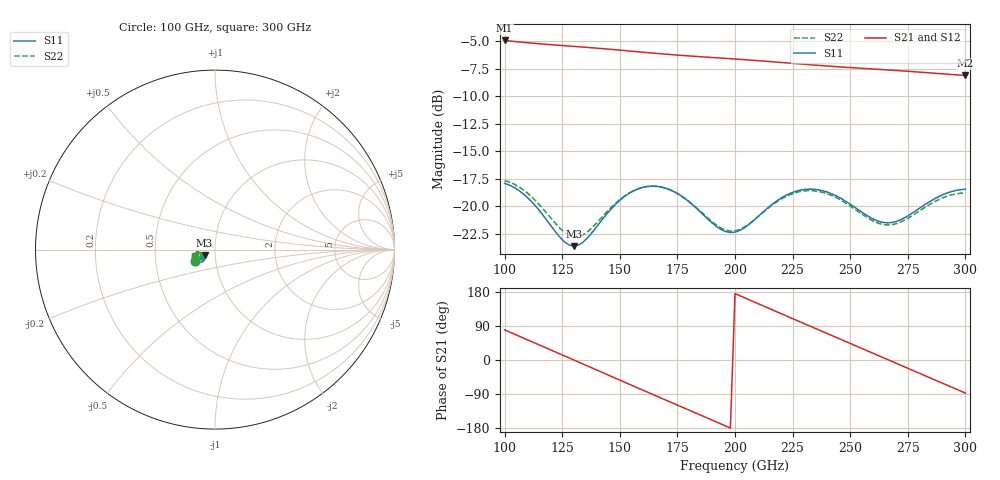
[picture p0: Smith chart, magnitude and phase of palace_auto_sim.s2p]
#  GHZ S DB R 50
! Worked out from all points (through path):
!   101 points, 100 GHz to 300 GHz, reference 50 ohm
!   highest |S21| = -4.95 dB at 100 GHz (marker M1); lowest = -8.1 dB at 300 GHz (marker M2)
!   group delay of S21, straight-line fit = 7.32 ps
!   lowest |S11| = -23.6 dB at 130 GHz (marker M3), VSWR 1.14, Z = 44.4 - j2.77 ohm
!   |S11| at or under -10 dB: start of sweep to end of sweep
!   |S22| runs from -22.8 to -17.7 dB; largest |S21 - S12| = 6.2e-14
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100  -17.93 -150.9  -4.95 79.5  -4.95 79.5  -17.68 -149.8
108  -18.86 -161.8  -5.12 58.4  -5.12 58.4  -18.49 -160.7
116  -20.64 -167.9  -5.27 37.2  -5.27 37.2  -20.07 -167.0
130  -23.63 -151.8  -5.49 0.1  -5.49 0.1  -22.79 -155.1
134  -23.28 -143.3  -5.55 -10.5  -5.55 -10.5  -22.61 -147.9
142  -21.31 -135.2  -5.69 -31.8  -5.69 -31.8  -21.05 -140.2
152  -19.13 -139.9  -5.87 -58.4  -5.87 -58.4  -19.08 -143.9
160  -18.29 -148.6  -6.02 -79.6  -6.02 -79.6  -18.29 -152.0
168  -18.26 -158.1  -6.16 -100.6  -6.16 -100.6  -18.27 -161.0
176  -18.98 -166.1  -6.30 -121.6  -6.30 -121.6  -18.97 -168.6
186  -20.73 -169.7  -6.44 -147.9  -6.44 -147.9  -20.65 -172.2
200  -22.35 -154.8  -6.64 175.2  -6.64 175.2  -22.24 -158.4
208  -21.31 -146.0  -6.76 154.0  -6.76 154.0  -21.30 -149.9
218  -19.54 -146.1  -6.92 127.6  -6.92 127.6  -19.62 -149.9
226  -18.67 -151.7  -7.05 106.6  -7.05 106.6  -18.79 -155.3
234  -18.46 -158.8  -7.18 85.6  -7.18 85.6  -18.60 -162.3
242  -18.88 -165.2  -7.30 64.7  -7.30 64.7  -19.03 -168.6
252  -20.10 -168.7  -7.44 38.5  -7.44 38.5  -20.27 -172.1
268  -21.48 -157.3  -7.65 -3.4  -7.65 -3.4  -21.68 -160.8
276  -20.75 -150.7  -7.77 -24.4  -7.77 -24.4  -20.98 -154.3
286  -19.40 -150.1  -7.92 -50.7  -7.92 -50.7  -19.66 -153.8
300  -18.46 -158.2  -8.13 -87.3  -8.13 -87.3  -18.80 -162.2
